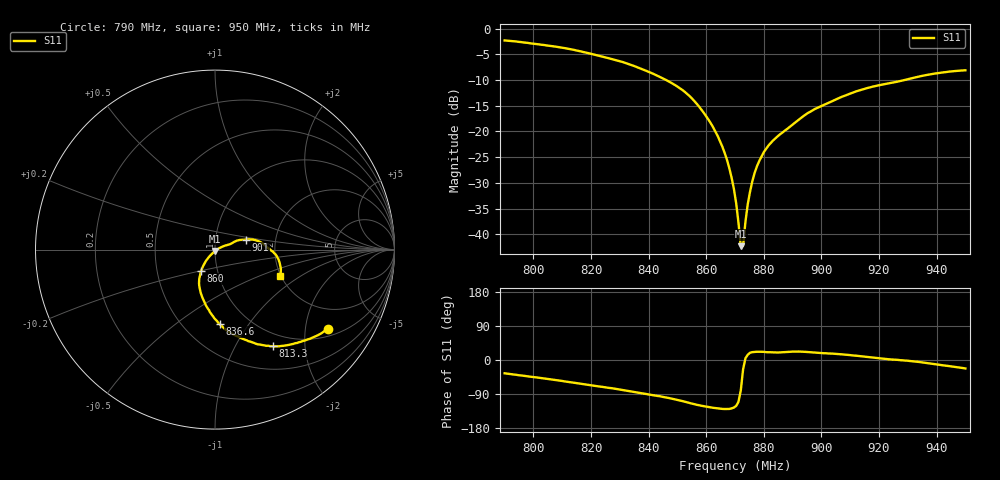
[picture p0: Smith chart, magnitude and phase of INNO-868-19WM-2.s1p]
# MHz S MA R 50
!  freq  S11
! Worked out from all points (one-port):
!   200 points, 790 MHz to 950 MHz, reference 50 ohm
!   lowest |S11| = -42.3 dB at 872 MHz (marker M1), VSWR 1.02, Z = 50.1 - j0.758 ohm
!   |S11| at or under -10 dB: 846.1 MHz to 928.9 MHz (82.76 MHz wide, 9.32 % of centre)
!   S11 on the Smith chart (normalised r, x): 790 MHz: 1.24, -2.65; 813.3 MHz: 0.81, -1.43; 836.6 MHz: 0.74, -0.74; 860 MHz: 0.84, -0.20; 901 MHz: 1.41, +0.16; 950 MHz: 1.98, -0.70
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790  0.7671 -35.1
810.101  0.6519 -55.4
813.317  0.6265 -59.2
830.201  0.4799 -78.2
836.633  0.4152 -86.5
850.302  0.2696 -105.7
855.126  0.2084 -115.3
859.95  0.141 -123.0
863.97  0.09062 -127.9
866.382  0.06211 -129.3
868.794  0.0358 -127.8
870.402  0.02008 -121.3
871.206  0.01297 -110.2
872.01  0.00767 -80.3
872.814  0.00773 -24.7
873.618  0.01318 4.5
874.422  0.01957 13.9
875.226  0.02599 19.1
876.834  0.03974 21.4
878.442  0.05179 21.8
880.05  0.06322 21.5
883.266  0.08198 20.1
890.503  0.1197 22.2
895.327  0.1513 20.9
900.955  0.182 17.8
910.603  0.2369 12.2
930.704  0.3257 -2.7
950  0.3934 -22.3
